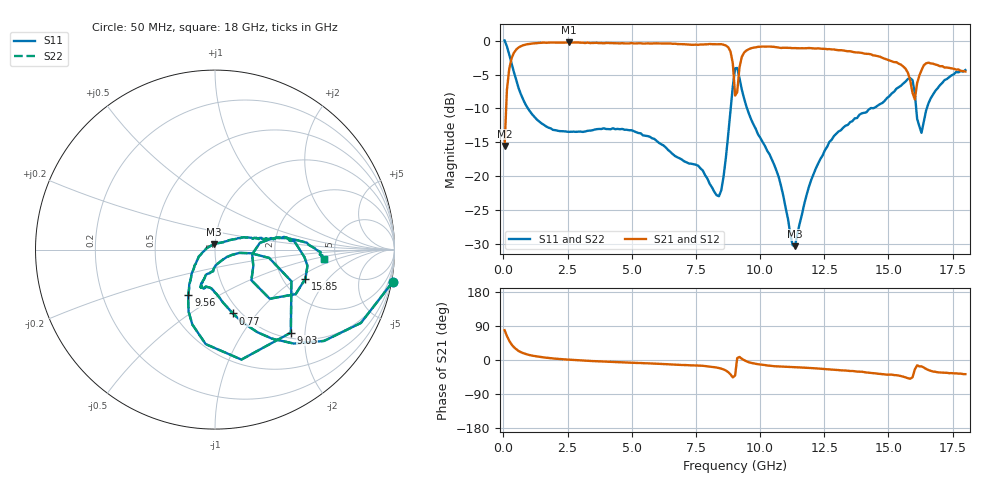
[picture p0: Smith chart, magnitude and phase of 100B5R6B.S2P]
!  American Technical Ceramics  Date:  3/13/98
!  One Norden Lane
!  Huntington Station,  NY.  11746-2102
!  Tel:  (516) 547-5700  Fax:  (516) 547-5748
!  Part Number  100b5r6b
!  Description: Porcelain, High Q, Low ESR
!  Application: Bypass, Coupling, Timing, Feedback
!  Tuning, Impedance Match, Blocking
# GHZ S DB R 50
! Freq  |S11|  S11 Ph  |S21|  S21 Ph  |S12|  S12 Ph  |S22|  S22 Ph
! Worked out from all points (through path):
!   201 points, 50 MHz to 18 GHz, reference 50 ohm
!   highest |S21| = -0.21 dB at 2.56 GHz (marker M1); lowest = -15.6 dB at 50 MHz (marker M2)
!   lowest |S11| = -30.4 dB at 11.36 GHz (marker M3), VSWR 1.06, Z = 49.4 + j2.96 ohm
!   |S11| at or under -10 dB: 959.2 MHz to 8.858 GHz (7.899 GHz wide, 161 % of centre); 9.496 GHz to 14.29 GHz (4.798 GHz wide, 40.3 % of centre); 16.08 GHz to 16.5 GHz (411.5 MHz wide, 2.53 % of centre)
!   |S22| runs from -30.4 to 0.1 dB; largest |S21 - S12| = 0
!   S11 on the Smith chart (normalised r, x): 50 MHz: -0, -11; 770 MHz: 0.92, -0.76; 9.03 GHz: 1.11, -1.69; 9.56 GHz: 0.66, -0.36; 15.85 GHz: 2.65, -1.18; 18 GHz: 3.99, -0.65
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0.05  0.06 -10.2  -15.55 78.6  -15.55 78.6  0.06 -10.2
0.14  -0.82 -26.7  -7.26 63.4  -7.26 63.4  -0.82 -26.7
0.23  -2.02 -40.0  -4.16 50.8  -4.16 50.8  -2.02 -40.0
0.77  -8.65 -74.4  -0.65 18.3  -0.65 18.3  -8.65 -74.4
2.56  -13.46 -99.2  -0.21 0.8  -0.21 0.8  -13.46 -99.2
3.1  -13.47 -103.9  -0.27 -1.3  -0.27 -1.3  -13.47 -103.9
6.06  -15.08 -110.1  -0.38 -10.2  -0.38 -10.2  -15.08 -110.1
8.4  -22.98 -50.2  -0.50 -21.2  -0.50 -21.2  -22.98 -50.2
8.85  -10.31 -8.7  -1.57 -38.0  -1.57 -38.0  -10.31 -8.7
9.03  -4.06 -47.6  -8.10 -40.9  -8.10 -40.9  -4.06 -47.6
9.11  -4.01 -76.5  -7.59 4.9  -7.59 4.9  -4.01 -76.5
9.2  -5.53 -95.6  -3.92 8.2  -3.92 8.2  -5.53 -95.6
9.56  -10.70 -120.6  -1.24 -5.8  -1.24 -5.8  -10.70 -120.6
10.73  -20.16 -156.9  -0.98 -17.2  -0.98 -17.2  -20.16 -156.9
11.36  -30.37 99.0  -1.07 -19.1  -1.07 -19.1  -30.37 99.0
12.08  -19.74 31.6  -1.12 -21.5  -1.12 -21.5  -19.74 31.6
15.04  -8.18 10.5  -2.90 -38.5  -2.90 -38.5  -8.18 10.5
15.85  -5.53 -17.7  -5.83 -49.4  -5.83 -49.4  -5.53 -17.7
16.03  -7.75 -41.9  -8.66 -24.9  -8.66 -24.9  -7.75 -41.9
16.29  -13.61 -7.1  -4.35 -16.8  -4.35 -16.8  -13.61 -7.1
16.83  -7.39 7.9  -3.50 -31.1  -3.50 -31.1  -7.39 7.9
18  -4.32 -4.9  -4.53 -37.3  -4.53 -37.3  -4.32 -4.9
